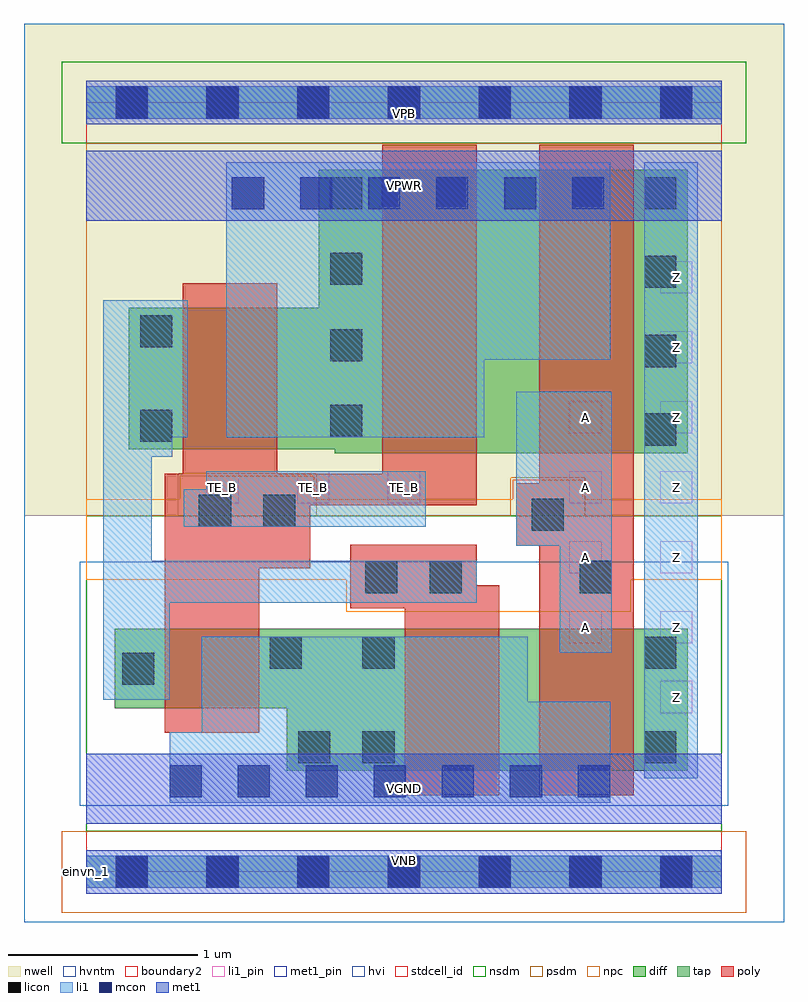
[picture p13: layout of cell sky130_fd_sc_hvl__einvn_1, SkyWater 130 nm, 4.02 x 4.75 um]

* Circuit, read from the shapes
.subckt sky130_fd_sc_hvl__einvn_1 A TE_B VGND VNB VPB VPWR Z
XM1 VGND TE_B n1 VNB sky130_fd_pr__nfet_g5v0d10v5 w=0.42 l=0.5
XM2 n2 n1 VGND VNB sky130_fd_pr__nfet_g5v0d10v5 w=0.75 l=0.5
XM3 Z A n2 VNB sky130_fd_pr__nfet_g5v0d10v5 w=0.75 l=0.5
XM4 VPWR TE_B n1 VPB sky130_fd_pr__pfet_g5v0d10v5 w=0.75 l=0.5
XM5 n3 TE_B VPWR VPB sky130_fd_pr__pfet_g5v0d10v5 w=1.5 l=0.5
XM6 Z A n3 VPB sky130_fd_pr__pfet_g5v0d10v5 w=1.5 l=0.5
.ends

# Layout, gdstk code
import gdstk
lib = gdstk.Library(unit=1e-6, precision=1e-09)
def R(c, l, rs):  # rectangles x0, y0, x1, y1
    for r in rs: c.add(gdstk.rectangle(r[:2], r[2:], *l))
def A(c, l, x, y, w, h, nx, ny, dx, dy):  # array of equal rectangles
    R(c, l, [(x+i*dx, y+j*dy, x+i*dx+w, y+j*dy+h) for i in range(nx) for j in range(ny)])
def P(c, l, *ps):  # polygons
    for p in ps: c.add(gdstk.Polygon(p, *l))
nwell = (64, 20)
diff = (65, 20)
tap = (65, 44)
poly = (66, 20)
licon = (66, 44)
li1_pin = (67, 16)
li1 = (67, 20)
mcon = (67, 44)
met1_pin = (68, 16)
met1 = (68, 20)
hvi = (75, 20)
stdcell_id = (81, 4)
nsdm = (93, 44)
psdm = (94, 20)
npc = (95, 20)
hvntm = (125, 20)
boundary2 = (236, 0)

sky130_fd_sc_hvl__einvn_ = lib.new_cell('sky130_fd_sc_hvl__einvn_1')
R(sky130_fd_sc_hvl__einvn_, nwell, [(-0.33,1.885,3.69,4.485)])
P(sky130_fd_sc_hvl__einvn_, diff, [(3.18,3.715),(1.23,3.715),(1.23,2.985),(0.225,2.985),(0.225,2.235),(1.315,2.235),(1.315,2.215),(3.18,2.215)],
  [(3.18,1.285),(0.15,1.285),(0.15,0.865),(1.06,0.865),(1.06,0.535),(3.18,0.535)])
R(sky130_fd_sc_hvl__einvn_, tap, [(0,-0.085,3.36,0.085), (0,3.985,3.36,4.155)])
P(sky130_fd_sc_hvl__einvn_, poly, [(2.065,3.845),(1.565,3.845),(1.565,2.105),(1.01,2.105),(1.01,3.115),(0.51,3.115),(0.51,2.105),(0.415,2.105),(0.415,0.735),(0.915,0.735),(0.915,1.605),(1.185,1.605),(1.185,1.94),(2.065,1.94)],
  [(2.185,1.515),(2.065,1.515),(2.065,1.73),(1.395,1.73),(1.395,1.395),(1.685,1.395),(1.685,0.405),(2.185,0.405)],
  [(2.895,3.845),(2.395,3.845),(2.395,2.055),(2.275,2.055),(2.275,1.725),(2.395,1.725),(2.395,0.405),(2.895,0.405)])
A(sky130_fd_sc_hvl__einvn_, licon, 0.155, -0.085, 0.17, 0.17, 7, 2, 0.48, 4.07)
R(sky130_fd_sc_hvl__einvn_, licon, [(1.12,0.575,1.29,0.745), (1.46,0.575,1.63,0.745), (2.95,0.575,3.12,0.745), (0.19,0.99,0.36,1.16), (0.97,1.075,1.14,1.245), (1.46,1.075,1.63,1.245), (2.95,1.075,3.12,1.245), (1.475,1.475,1.645,1.645), (1.815,1.475,1.985,1.645), (2.61,1.475,2.78,1.645), (2.355,1.805,2.525,1.975), (0.595,1.825,0.765,1.995), (0.935,1.825,1.105,1.995), (2.95,2.255,3.12,2.425), (0.285,2.275,0.455,2.445), (1.29,2.3,1.46,2.47), (2.95,2.67,3.12,2.84), (1.29,2.7,1.46,2.87), (0.285,2.775,0.455,2.945), (2.95,3.09,3.12,3.26), (1.29,3.105,1.46,3.275), (1.29,3.505,1.46,3.675), (2.95,3.505,3.12,3.675)])
A(sky130_fd_sc_hvl__einvn_, li1_pin, 3.035, 0.84, 0.17, 0.17, 1, 7, 0, 0.37)
A(sky130_fd_sc_hvl__einvn_, li1_pin, 2.555, 1.21, 0.17, 0.17, 1, 4, 0, 0.37)
A(sky130_fd_sc_hvl__einvn_, li1_pin, 0.635, 1.95, 0.17, 0.17, 3, 1, 0.48, 0)
R(sky130_fd_sc_hvl__einvn_, li1, [(0,-0.085,3.36,0.085), (2.95,0.495,3.235,3.755), (0,3.985,3.36,4.155)])
P(sky130_fd_sc_hvl__einvn_, li1, [(1.795,2.12),(0.635,2.12),(0.635,2.025),(0.515,2.025),(0.515,1.825),(1.795,1.825)],
  [(2.065,1.645),(0.345,1.645),(0.345,2.195),(0.455,2.195),(0.455,2.3),(0.535,2.3),(0.535,3.025),(0.09,3.025),(0.09,0.91),(0.44,0.91),(0.44,1.425),(2.065,1.425)],
  [(2.78,2.54),(2.275,2.54),(2.275,1.725),(2.505,1.725),(2.505,1.16),(2.78,1.16)],
  [(2.77,3.755),(0.74,3.755),(0.74,2.3),(2.105,2.3),(2.105,2.71),(2.77,2.71)],
  [(2.77,0.9),(2.335,0.9),(2.335,1.245),(0.61,1.245),(0.61,0.74),(0.44,0.74),(0.44,0.365),(2.77,0.365)])
A(sky130_fd_sc_hvl__einvn_, mcon, 0.44, 0.395, 0.17, 0.17, 7, 1, 0.36, 0)
A(sky130_fd_sc_hvl__einvn_, mcon, 0.77, 3.505, 0.17, 0.17, 6, 1, 0.36, 0)
R(sky130_fd_sc_hvl__einvn_, mcon, [(0.155,-0.085,0.325,0.085), (0.155,-0.085,0.325,0.085), (0.635,-0.085,0.805,0.085), (0.635,-0.085,0.805,0.085), (1.115,-0.085,1.285,0.085), (1.115,-0.085,1.285,0.085), (1.595,-0.085,1.765,0.085), (1.595,-0.085,1.765,0.085), (2.075,-0.085,2.245,0.085), (2.075,-0.085,2.245,0.085), (2.555,-0.085,2.725,0.085), (2.555,-0.085,2.725,0.085), (3.035,-0.085,3.205,0.085), (3.035,-0.085,3.205,0.085), (0.155,3.985,0.325,4.155), (0.155,3.985,0.325,4.155), (0.635,3.985,0.805,4.155), (0.635,3.985,0.805,4.155), (1.115,3.985,1.285,4.155), (1.115,3.985,1.285,4.155), (1.595,3.985,1.765,4.155), (1.595,3.985,1.765,4.155), (2.075,3.985,2.245,4.155), (2.075,3.985,2.245,4.155), (2.555,3.985,2.725,4.155), (2.555,3.985,2.725,4.155), (3.035,3.985,3.205,4.155), (3.035,3.985,3.205,4.155)])
R(sky130_fd_sc_hvl__einvn_, met1_pin, [(0,0,3.36,0.115), (0,0.255,3.36,0.625), (0,3.445,3.36,3.815), (0,3.955,3.36,4.07)])
R(sky130_fd_sc_hvl__einvn_, met1, [(0,-0.115,3.36,0.115), (0,0.255,3.36,0.625), (0,3.445,3.36,3.815), (0,3.955,3.36,4.185)])
R(sky130_fd_sc_hvl__einvn_, hvi, [(-0.33,-0.265,3.69,4.485)])
R(sky130_fd_sc_hvl__einvn_, stdcell_id, [(0,0,3.36,4.07)])
R(sky130_fd_sc_hvl__einvn_, nsdm, [(0,0.215,3.36,1.885), (-0.13,3.855,3.49,4.285), (0,3.855,3.36,4.07)])
R(sky130_fd_sc_hvl__einvn_, psdm, [(-0.13,-0.215,3.49,0.215)])
P(sky130_fd_sc_hvl__einvn_, psdm, [(3.36,3.855),(0,3.855),(0,1.885),(0.485,1.885),(0.485,2.105),(1.215,2.105),(1.215,1.885),(2.245,1.885),(2.245,2.085),(2.635,2.085),(2.635,1.885),(3.36,1.885)])
P(sky130_fd_sc_hvl__einvn_, npc, [(3.36,1.97),(2.625,1.97),(2.625,2.075),(2.255,2.075),(2.255,1.97),(1.205,1.97),(1.205,2.095),(0.495,2.095),(0.495,1.97),(0,1.97),(0,1.545),(1.375,1.545),(1.375,1.375),(2.88,1.375),(2.88,1.545),(3.36,1.545)])
R(sky130_fd_sc_hvl__einvn_, hvntm, [(-0.035,0.35,3.395,1.64)])
R(sky130_fd_sc_hvl__einvn_, boundary2, [(0,0,3.36,4.07)])
sky130_fd_sc_hvl__einvn_.add(gdstk.Label('einvn_1', (0,0), layer=83, texttype=44))
sky130_fd_sc_hvl__einvn_.add(gdstk.Label('VGND', (1.68,0.44), layer=68, texttype=5))
sky130_fd_sc_hvl__einvn_.add(gdstk.Label('VNB', (1.68,0.058), layer=68, texttype=5))
sky130_fd_sc_hvl__einvn_.add(gdstk.Label('VPWR', (1.68,3.63), layer=68, texttype=5))
sky130_fd_sc_hvl__einvn_.add(gdstk.Label('VPB', (1.68,4.013), layer=68, texttype=5))
sky130_fd_sc_hvl__einvn_.add(gdstk.Label('TE_B', (0.72,2.035), layer=67, texttype=5))
sky130_fd_sc_hvl__einvn_.add(gdstk.Label('TE_B', (1.2,2.035), layer=67, texttype=5))
sky130_fd_sc_hvl__einvn_.add(gdstk.Label('TE_B', (1.68,2.035), layer=67, texttype=5))
sky130_fd_sc_hvl__einvn_.add(gdstk.Label('A', (2.64,1.295), layer=67, texttype=5))
sky130_fd_sc_hvl__einvn_.add(gdstk.Label('A', (2.64,2.405), layer=67, texttype=5))
sky130_fd_sc_hvl__einvn_.add(gdstk.Label('A', (2.64,1.665), layer=67, texttype=5))
sky130_fd_sc_hvl__einvn_.add(gdstk.Label('A', (2.64,2.035), layer=67, texttype=5))
sky130_fd_sc_hvl__einvn_.add(gdstk.Label('Z', (3.12,0.925), layer=67, texttype=5))
sky130_fd_sc_hvl__einvn_.add(gdstk.Label('Z', (3.12,1.295), layer=67, texttype=5))
sky130_fd_sc_hvl__einvn_.add(gdstk.Label('Z', (3.12,1.665), layer=67, texttype=5))
sky130_fd_sc_hvl__einvn_.add(gdstk.Label('Z', (3.12,2.035), layer=67, texttype=5))
sky130_fd_sc_hvl__einvn_.add(gdstk.Label('Z', (3.12,2.405), layer=67, texttype=5))
sky130_fd_sc_hvl__einvn_.add(gdstk.Label('Z', (3.12,2.775), layer=67, texttype=5))
sky130_fd_sc_hvl__einvn_.add(gdstk.Label('Z', (3.12,3.145), layer=67, texttype=5))

lib.write_gds('sky130_fd_sc_hvl__einvn_1.gds')
